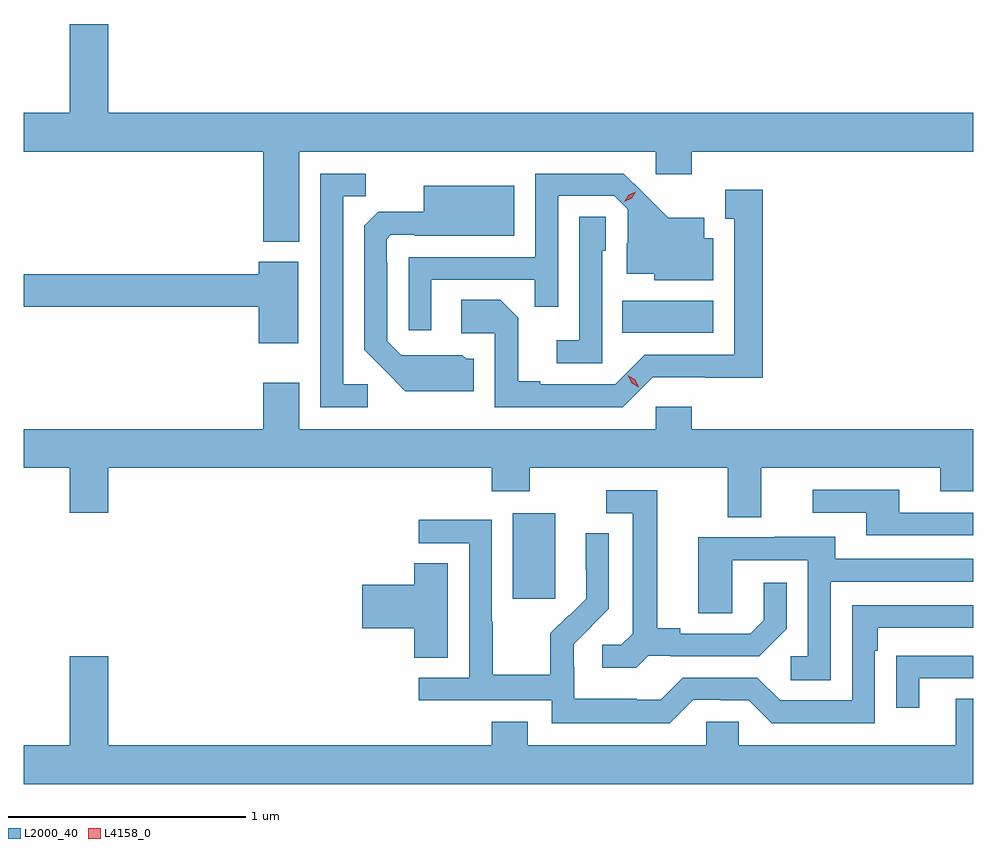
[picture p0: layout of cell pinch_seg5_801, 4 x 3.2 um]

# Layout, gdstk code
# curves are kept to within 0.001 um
import gdstk
lib = gdstk.Library(unit=1e-6, precision=1e-09)
def R(c, l, rs):  # rectangles x0, y0, x1, y1
    for r in rs: c.add(gdstk.rectangle(r[:2], r[2:], *l))
def P(c, l, *ps):  # polygons
    for p in ps: c.add(gdstk.Polygon(p, *l))
L2000_40 = (2000, 40)
L4158_0 = (4158, 0)

pinch_seg5_801 = lib.new_cell('pinch_seg5_801')
R(pinch_seg5_801, L2000_40, [(766.277,904.161,766.456,904.522), (766.738,905.282,767.122,905.416)])
P(pinch_seg5_801, L2000_40, [(764.572,906.583),(764.408,906.583),(764.408,906.208),(764.216,906.208),(764.216,906.044),(765.224,906.044),(765.224,905.666),(765.376,905.666),(765.376,906.044),(766.878,906.044),(766.878,905.949),(767.03,905.949),(767.03,906.044),(768.216,906.044),(768.216,906.208),(764.572,906.208)],
  [(765.933,905.505),(766.369,905.505),(766.369,905.392),(766.467,905.392),(766.467,905.859),(766.704,905.859),(766.761,905.802),(766.761,905.66),(766.757,905.66),(766.757,905.531),(766.872,905.531),(766.872,905.504),(767.122,905.504),(767.122,905.68),(767.083,905.68),(767.083,905.767),(766.931,905.767),(766.744,905.952),(766.371,905.952),(766.371,905.601),(765.837,905.601),(765.837,905.292),(765.933,905.292)],
  [(765.664,905.064),(765.561,905.064),(765.561,905.857),(765.657,905.857),(765.657,905.952),(765.465,905.952),(765.465,904.968),(765.664,904.968)],
  [(766.111,905.172),(766.08,905.172),(766.064,905.188),(765.807,905.187),(765.747,905.247),(765.747,905.576),(765.744,905.576),(765.744,905.676),(765.762,905.694),(765.862,905.694),(765.862,905.69),(766.282,905.69),(766.282,905.902),(765.902,905.902),(765.902,905.791),(765.71,905.791),(765.651,905.732),(765.651,905.21),(765.823,905.036),(766.111,905.036)],
  [(766.866,905.094),(767.329,905.093),(767.329,905.884),(767.171,905.884),(767.171,905.763),(767.21,905.763),(767.21,905.19),(766.833,905.19),(766.707,905.064),(766.393,905.064),(766.393,905.077),(766.299,905.077),(766.299,905.344),(766.223,905.42),(766.059,905.42),(766.059,905.28),(766.2,905.28),(766.2,904.968),(766.74,904.968)],
  [(766.653,905.628),(766.668,905.628),(766.668,905.771),(766.557,905.771),(766.557,905.251),(766.461,905.251),(766.461,905.154),(766.653,905.154)],
  [(765.373,905.581),(765.206,905.581),(765.206,905.528),(764.216,905.528),(764.216,905.392),(765.206,905.392),(765.206,905.238),(765.373,905.238)],
  [(767.323,904.712),(768.077,904.712),(768.077,904.613),(768.216,904.613),(768.216,904.876),(767.03,904.876),(767.03,904.969),(766.878,904.969),(766.878,904.876),(765.376,904.876),(765.376,905.071),(765.224,905.071),(765.224,904.876),(764.216,904.876),(764.216,904.712),(764.408,904.712),(764.408,904.524),(764.572,904.524),(764.572,904.712),(766.187,904.712),(766.187,904.613),(766.347,904.613),(766.347,904.712),(767.183,904.712),(767.183,904.504),(767.323,904.504)],
  [(768.216,904.524),(767.905,904.524),(767.905,904.62),(767.541,904.62),(767.541,904.524),(767.765,904.524),(767.765,904.428),(768.216,904.428)],
  [(766.848,903.921),(766.942,903.921),(766.942,903.918),(767.314,903.918),(767.43,904.034),(767.43,904.228),(767.333,904.228),(767.333,904.071),(767.276,904.014),(766.981,904.014),(766.981,904.037),(766.885,904.037),(766.885,904.617),(766.671,904.617),(766.671,904.521),(766.781,904.521),(766.781,904.013),(766.734,903.966),(766.653,903.966),(766.653,903.869),(766.796,903.869)],
  [(767.037,903.735),(767.153,903.735),(767.153,903.732),(767.271,903.732),(767.367,903.636),(767.802,903.636),(767.802,903.941),(767.815,903.941),(767.815,904.038),(768.216,904.038),(768.216,904.134),(767.706,904.134),(767.706,903.732),(767.403,903.732),(767.307,903.828),(766.992,903.828),(766.899,903.735),(766.799,903.735),(766.799,903.739),(766.536,903.739),(766.536,903.873),(766.534,903.873),(766.534,903.97),(766.68,904.118),(766.68,904.436),(766.584,904.436),(766.584,904.282),(766.586,904.282),(766.586,904.16),(766.515,904.089),(766.512,904.092),(766.435,904.015),(766.435,903.841),(766.191,903.841),(766.191,904.064),(766.188,904.064),(766.188,904.494),(765.879,904.494),(765.879,904.395),(766.092,904.395),(766.092,903.828),(765.879,903.828),(765.879,903.732),(766.44,903.732),(766.44,903.635),(766.937,903.635)],
  [(767.616,904.233),(768.216,904.233),(768.216,904.329),(767.635,904.329),(767.635,904.423),(767.381,904.423),(767.381,904.419),(767.057,904.419),(767.057,904.099),(767.202,904.099),(767.202,904.323),(767.52,904.323),(767.52,903.918),(767.448,903.918),(767.448,903.817),(767.616,903.817)],
  [(766.003,904.31),(765.86,904.31),(765.86,904.22),(765.642,904.22),(765.642,904.037),(765.86,904.037),(765.86,903.913),(766.003,903.913)],
  [(767.989,903.825),(768.216,903.825),(768.216,903.921),(767.995,903.921),(767.995,903.92),(767.893,903.92),(767.893,903.702),(767.989,903.702)],
  [(768.216,903.739),(768.143,903.739),(768.143,903.544),(767.229,903.544),(767.229,903.642),(767.091,903.642),(767.091,903.544),(766.339,903.544),(766.339,903.643),(766.187,903.643),(766.187,903.544),(764.572,903.544),(764.572,903.919),(764.408,903.919),(764.408,903.544),(764.216,903.544),(764.216,903.38),(768.216,903.38)])
P(pinch_seg5_801, L4158_0, [(766.808,905.052),(766.777,905.07),(766.76,905.102),(766.76,905.103),(766.76,905.103),(766.792,905.084),(766.808,905.052),(766.808,905.052)],
  [(766.746,905.833),(766.746,905.834),(766.764,905.863),(766.795,905.877),(766.795,905.877),(766.795,905.877),(766.777,905.848),(766.746,905.833)])

lib.write_gds('pinch_seg5_801.gds')
